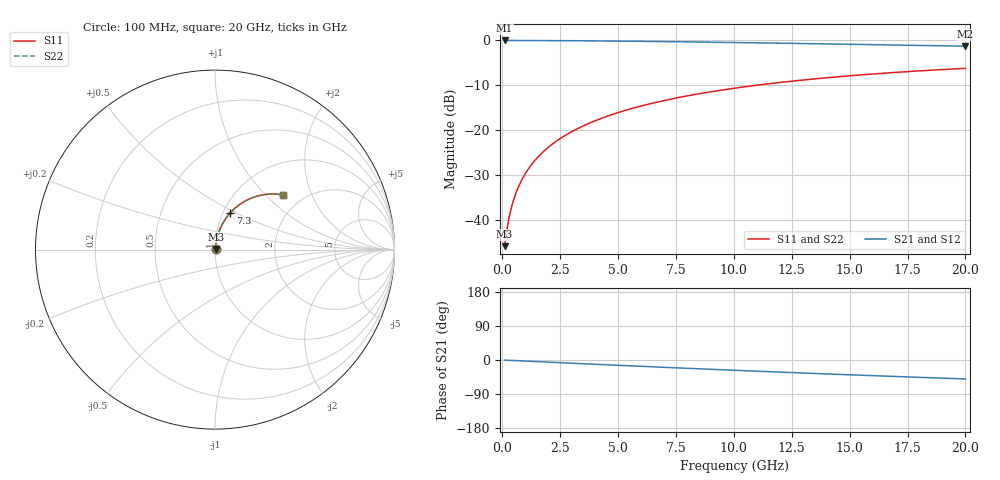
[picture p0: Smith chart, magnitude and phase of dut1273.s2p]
! Touchstone file exported from HFSS 2026.1.0
!  File:  C:/ffzhzh/LocalFiles/Ansys_Project_Files/temp_train_BSMRDL_1273_1783177706_43440.aedt
!  Generated:  11:09:53 PM Jul  4, 2026
!  Design:  BSMRDL
!  Project:  temp_train_BSMRDL_1273_1783177706_43440
! Variables:
!  h_bsmrdl = 4.47um
!  h_ox = 20um
!  h_rdl = 5um
!  h_sub = 80um
!  h_tmrdl = 5um
!  h_tsv = 80um
!  h_via = 3um
!  l_bsmrdl = 730.57um
!  l_sub = 1130.57um
!  l_tmrdl = 200um
!  m_sub = 200um
!  pitch = 46.73um
!  r_tsv = 6um
!  s_tmrdl = 10um
!  w_bsmrdl = 15.8um
!  w_sub = 500um
!  w_tmrdl = 12um
!  x_tsv_center1 = 206um
!  x_tsv_center2 = 952.37um
!  x_tsv_center3 = 1164.37um
!  x_tsv_center4 = 1910.74um
!  x_tsv_center5 = 2122.74um
!  x_tsv_center6 = 2869.11um
# GHz S MA R 50.000000
! Terminal data exported
! Port[1] = BSM_RDL1_1_T1
! Port[2] = BSM_RDL1_1_T2
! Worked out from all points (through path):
!   200 points, 100 MHz to 20 GHz, reference 50 ohm
!   highest |S21| = -0.03 dB at 100 MHz (marker M1); lowest = -1.3 dB at 20 GHz (marker M2)
!   group delay of S21, straight-line fit = 6.95 ps
!   lowest |S11| = -45.9 dB at 100 MHz (marker M3), VSWR 1.01, Z = 50.4 + j0.343 ohm
!   |S11| at or under -10 dB: start of sweep to 11.01 GHz
!   |S22| runs from -45.9 to -6.2 dB; largest |S21 - S12| = 2.7e-15
!   S11 on the Smith chart (normalised r, x): 100 MHz: 1.01, +0.01; 7.3 GHz: 1.08, +0.47; 20 GHz: 1.61, +1.28
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0.1  0.005079 42.1  0.9962 -0.3  0.9962 -0.3  0.005079 42.1
! Gamma 0 0 0 0
! Port Impedance 50 0 50 0
0.2  0.00781 59.7  0.9961 -0.6  0.9961 -0.6  0.00781 59.7
0.3  0.01084 67.4  0.9959 -0.9  0.9959 -0.9  0.01084 67.4
0.4  0.01393 71.6  0.9958 -1.2  0.9958 -1.2  0.01393 71.6
0.5  0.01705 74.2  0.9956 -1.4  0.9956 -1.4  0.01705 74.2
0.6  0.02019 76.0  0.9955 -1.7  0.9955 -1.7  0.02019 76.0
0.8  0.02651 78.1  0.9952 -2.3  0.9952 -2.3  0.02651 78.1
1.1  0.03603 79.6  0.9948 -3.1  0.9948 -3.1  0.03603 79.6
1.5  0.04875 80.1  0.994 -4.3  0.994 -4.3  0.04875 80.1
1.8  0.05828 80.0  0.9933 -5.1  0.9933 -5.1  0.05828 80.0
2.1  0.06777 79.7  0.9925 -6.0  0.9925 -6.0  0.06777 79.6
2.7  0.08662 78.6  0.9906 -7.7  0.9906 -7.7  0.08662 78.6
3.5  0.1114 76.9  0.9875 -9.9  0.9875 -9.9  0.1114 76.9
4.2  0.1327 75.2  0.9843 -11.8  0.9843 -11.8  0.1327 75.2
5  0.1565 73.2  0.9801 -14.0  0.9801 -14.0  0.1565 73.2
6.8  0.2079 68.7  0.9691 -18.8  0.9691 -18.8  0.208 68.7
7.3  0.2217 67.4  0.9657 -20.1  0.9657 -20.1  0.2217 67.4
8.6  0.2564 64.2  0.9563 -23.5  0.9563 -23.5  0.2564 64.2
10.1  0.2944 60.5  0.9447 -27.3  0.9447 -27.3  0.2944 60.5
13.4  0.3699 52.8  0.9169 -35.4  0.9169 -35.4  0.3699 52.8
16.7  0.434 45.4  0.8881 -42.9  0.8881 -42.9  0.434 45.4
20  0.4872 38.5  0.8602 -50.0  0.8602 -50.0  0.4872 38.5
